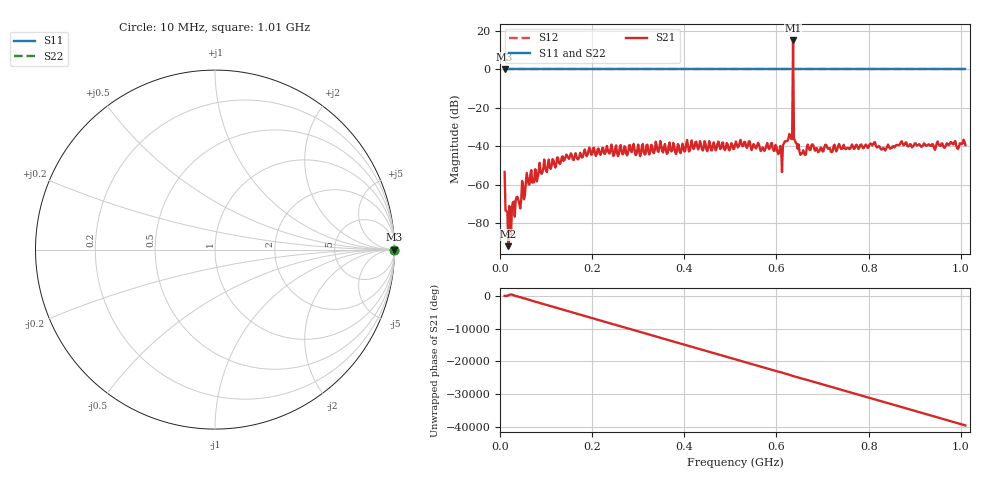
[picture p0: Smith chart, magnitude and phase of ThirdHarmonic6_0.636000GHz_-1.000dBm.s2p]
! 8/15/2025 9:01:38 PM
! C:\ANRITSUVNA\TEMP\TEMP.S2P
! CHANNEL.1
! TR.MEASUREMENT
! RAW.DATA
! RF.CORRECTION.OFF
! AVERAGING.OFF
! IF.BANDWIDTH: 5KHZ
! SWEEPTYPE:  FREQ.SWEEP(Linear)
! Reference Plane Port Info
! PORT:  PORT1  PORT2
! DISTANCE:  0  m  0  m
! TIME:  0  s  0  s
! PHASE.OFFSET:  0  deg.  0  deg.
! LOSS:  0  dB  0  dB
! REF.LOSS:  0  dB  0  dB
! REF.FREQ:  0  Hz  0  Hz
! Power Info
! POWER:  -20  dBm  -20  dBm
! EFF.POWER:  -20  dBm  -20  dBm
! SOURCE.ATTEN:  0  dB  0  dB
! TEST.ATTEN:  0  dB  0  dB
# GHZ S RI R 50.0
! FREQ.GHZ  S11RE  S11IM  S21RE  S21IM  S12RE  S12IM  S22RE  S22IM
!; PortSelection: Port_12
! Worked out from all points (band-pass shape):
!   501 points, 10 MHz to 1.01 GHz, reference 50 ohm
!   highest |S21| = 15.01 dB at 636 MHz (marker M1); lowest = -92.0 dB at 18 MHz (marker M2)
!   |S21| within 3 dB of the highest: 635.8832 MHz to 636.1175 MHz (234.4 kHz wide, 0.0369 % of centre)
!   lowest |S11| = 0.0 dB at 10 MHz (marker M3)
!   |S11| at or under -10 dB: nowhere
!   |S22| runs from 0.0 to 0.0 dB; largest |S21 - S12| = 5.6
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0.01  1 0  0.000697 -0.00202  1 0  1 0
0.016  1 0  0.000191 3.19e-05  1 0  1 0
0.018  1 0  8.2e-06 2.37e-05  1 0  1 0
0.038  1 0  -0.000358 0.000317  1 0  1 0
0.042  1 0  6.63e-05 -0.000309  1 0  1 0
0.062  1 0  -0.000835 -0.000599  1 0  1 0
0.14  1 0  0.000823 -0.0043  1 0  1 0
0.178  1 0  -0.00507 0.00018  1 0  1 0
0.344  1 0  0.00619 -0.00352  1 0  1 0
0.51  1 0  -0.00889 0.00586  1 0  1 0
0.586  1 0  0.00737 -0.00573  1 0  1 0
0.608  1 0  -0.0101 -0.000149  1 0  1 0
0.618  1 0  -0.0087 0.0101  1 0  1 0
0.63  1 0  0.0165 -0.00856  1 0  1 0
0.632  1 0  -0.00507 -0.0148  1 0  1 0
0.636  1 0  0.8505 5.567  1 0  1 0
0.64  1 0  0.000638 -0.0142  1 0  1 0
0.642  1 0  -0.0121 -0.00149  1 0  1 0
0.656  1 0  0.00636 0.00148  1 0  1 0
0.678  1 0  -0.0095 -0.00603  1 0  1 0
0.844  1 0  0.00928 0.0036  1 0  1 0
1.01  1 0  -0.0107 4.67e-05  1 0  1 0
